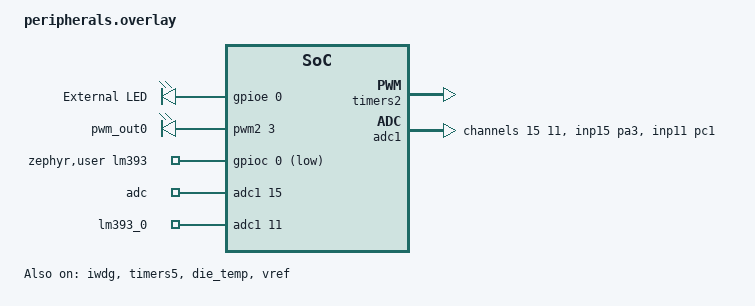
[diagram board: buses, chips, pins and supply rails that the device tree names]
/* gpio + timer + watchdog + adc + pwm + lm393, taken from the driver READMEs. */
/ {
	ec_outputs {
		compatible = "gpio-leds";
		ext_led: ext_led {
			gpios = <&gpioe 0 GPIO_ACTIVE_HIGH>;
			label = "External LED";
		};
	};

	pwm_outputs {
		compatible = "pwm-leds";
		pwm_out0: pwm_out_0 {
			pwms = <&pwm2 3 PWM_KHZ(1) PWM_POLARITY_NORMAL>;
		};
	};

	/* adc reads the first channel, lm393 finds its channel by name */
	zephyr,user {
		io-channels = <&adc1 15>, <&adc1 11>;
		io-channel-names = "adc", "lm393_0";
		lm393-gpios = <&gpioc 0 GPIO_ACTIVE_LOW>;
	};

	aliases {
		out0 = &user_led;
		out1 = &ext_led;
		in0 = &user_btn;
		hwtimer0 = &counter5;
		watchdog0 = &iwdg;
		pwm0 = &pwm_out0;
	};
};

&gpioe { status = "okay"; };

&iwdg { status = "okay"; };

&timers5 {
	st,prescaler = <249>;
	status = "okay";
	counter5: counter {
		status = "okay";
	};
};

/* PA2 (TIM2_CH3) and PA3 (ADC1_INP15) are USART2 in the board DTS */
&usart2 { status = "disabled"; };
/* PC0 (lm393 DO) and PC1 (ADC1_INP11, lm393 AO) are SPI2 in the board DTS */
&spi2 { status = "disabled"; };

&pinctrl {
	tim2_ch3_pa2: tim2_ch3_pa2 {
		pinmux = <STM32_PINMUX('A', 2, AF1)>;
	};
	adc1_inp15_pa3: adc1_inp15_pa3 {
		pinmux = <STM32_PINMUX('A', 3, ANALOG)>;
	};
	adc1_inp11_pc1: adc1_inp11_pc1 {
		pinmux = <STM32_PINMUX('C', 1, ANALOG)>;
	};
};

&timers2 {
	st,prescaler = <0>;
	status = "okay";
	pwm2: pwm {
		pinctrl-0 = <&tim2_ch3_pa2>;
		pinctrl-names = "default";
		status = "okay";
	};
};

&adc1 {
	clocks = <&rcc STM32_CLOCK(AHB2, 10)>,
		 <&rcc STM32_SRC_HCLK ADCDAC_SEL(0)>;
	clock-names = "adcx", "adc_ker";
	pinctrl-0 = <&adc1_inp15_pa3 &adc1_inp11_pc1>;
	pinctrl-names = "default";
	st,adc-clock-source = "ASYNC";
	st,adc-prescaler = <6>;
	#address-cells = <1>;
	#size-cells = <0>;
	status = "okay";

	channel@f {
		reg = <15>;
		zephyr,gain = "ADC_GAIN_1";
		zephyr,reference = "ADC_REF_INTERNAL";
		zephyr,acquisition-time = <ADC_ACQ_TIME_DEFAULT>;
		zephyr,resolution = <12>;
	};

	channel@b {
		reg = <11>;
		zephyr,gain = "ADC_GAIN_1";
		zephyr,reference = "ADC_REF_INTERNAL";
		zephyr,acquisition-time = <ADC_ACQ_TIME_DEFAULT>;
		zephyr,resolution = <12>;
	};
};

&die_temp { status = "okay"; };
&vref { status = "okay"; };
